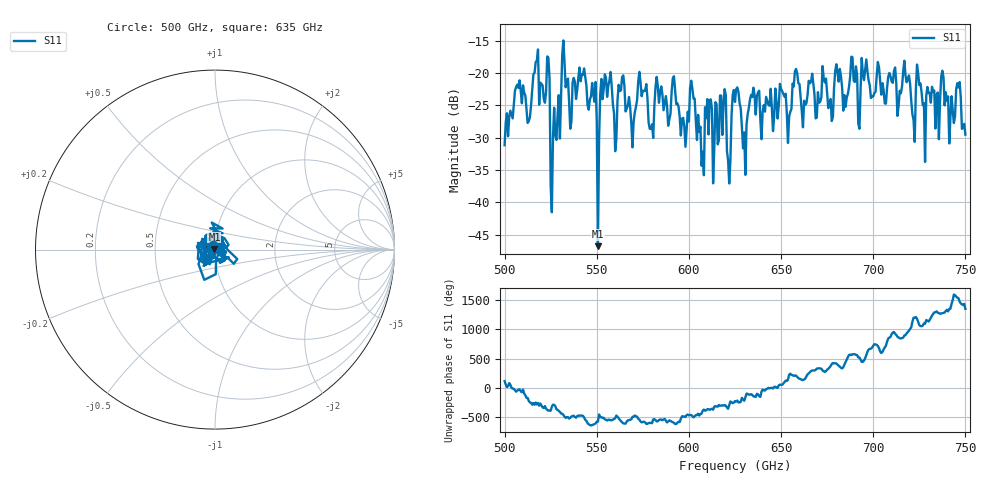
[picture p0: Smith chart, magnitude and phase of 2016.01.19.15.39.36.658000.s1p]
!Created with skrf (http://scikit-rf.org).
# GHz S RI R 50.0
!freq ReS11 ImS11
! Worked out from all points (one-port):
!   401 points, 500 GHz to 750 GHz, reference 50 ohm
!   lowest |S11| = -46.8 dB at 550.6 GHz (marker M1), VSWR 1.01, Z = 49.7 + j0.325 ohm
!   |S11| at or under -10 dB: start of sweep to end of sweep
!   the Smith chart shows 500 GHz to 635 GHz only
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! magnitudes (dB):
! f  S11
! 500 GHz  -31.2
! 506.9 GHz  -21.8
! 513.1 GHz  -27.4
! 516.9 GHz  -18.3
! 523.1 GHz  -17.4
! 526.2 GHz  -29.9
! 531.2 GHz  -17.3
! 543.1 GHz  -19.3
! 550.6 GHz  -46.8
! 553.8 GHz  -22.5
! 560 GHz  -32.1
! 562.5 GHz  -22.8
! 593.8 GHz  -24.7
! 601.9 GHz  -22.5
! 606.9 GHz  -34.3
! 618.8 GHz  -25.0
! 621.9 GHz  -37.1
! 625 GHz  -24.5
! 630 GHz  -29.2
! 634.4 GHz  -23.7
! 656.2 GHz  -21.6
! 687.5 GHz  -20.5
! 718.8 GHz  -20.9
! 721.9 GHz  -27.3
! 724.4 GHz  -20.1
! 742.5 GHz  -23.6
! 746.2 GHz  -22.2
! 750 GHz  -29.5
